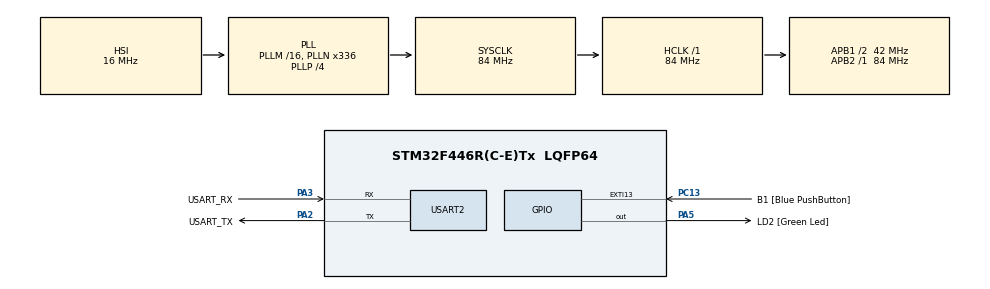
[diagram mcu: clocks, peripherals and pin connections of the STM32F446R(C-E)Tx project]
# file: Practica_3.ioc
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Mcu.Family=STM32F4
Mcu.Name=STM32F446R(C-E)Tx
Mcu.Package=LQFP64
NVIC.PriorityGroup=NVIC_PRIORITYGROUP_0
PA13.GPIO_Label=TMS
PA13.Mode=Serial_Wire
PA13.Signal=SYS_JTMS-SWDIO
PA14.GPIO_Label=TCK
PA14.Mode=Serial_Wire
PA14.Signal=SYS_JTCK-SWCLK
PA2.GPIO_Label=USART_TX
PA2.Mode=Asynchronous
PA2.Signal=USART2_TX
PA3.GPIO_Label=USART_RX
PA3.Mode=Asynchronous
PA3.Signal=USART2_RX
PA5.GPIO_Label=LD2 [Green Led]
PA5.Signal=GPIO_Output
PB3.GPIO_Label=SWO
PB3.Signal=SYS_JTDO-SWO
PC13.GPIO_Label=B1 [Blue PushButton]
PC13.GPIO_ModeDefaultEXTI=GPIO_MODE_IT_FALLING
PC13.Signal=GPXTI13
PC14-OSC32_IN.Mode=LSE-External-Oscillator
PC14-OSC32_IN.Signal=RCC_OSC32_IN
PC15-OSC32_OUT.Mode=LSE-External-Oscillator
PC15-OSC32_OUT.Signal=RCC_OSC32_OUT
PH0-OSC_IN.Mode=HSE-External-Oscillator
PH0-OSC_IN.Signal=RCC_OSC_IN
PH1-OSC_OUT.Mode=HSE-External-Oscillator
PH1-OSC_OUT.Signal=RCC_OSC_OUT
ProjectManager.HeapSize=0x200
ProjectManager.StackSize=0x400
ProjectManager.TargetToolchain=STM32CubeIDE
RCC.48MHZClocksFreq_Value=84000000
RCC.AHBFreq_Value=84000000
RCC.APB1CLKDivider=RCC_HCLK_DIV2
RCC.APB1Freq_Value=42000000
RCC.APB1TimFreq_Value=84000000
RCC.APB2Freq_Value=84000000
RCC.APB2TimFreq_Value=84000000
RCC.CortexFreq_Value=84000000
RCC.FLatency-AdvancedSettings=FLASH_LATENCY_2
RCC.HCLKFreq_Value=84000000
RCC.HSE_VALUE=8000000
RCC.HSI_VALUE=16000000
RCC.PLLN=336
RCC.PLLP=RCC_PLLP_DIV4
RCC.SYSCLKFreq_VALUE=84000000
RCC.SYSCLKSource=RCC_SYSCLKSOURCE_PLLCLK
RCC.USBFreq_Value=168000000
RCC.VCOOutputFreq_Value=336000000
USART2.VirtualMode=VM_ASYNC
board=NUCLEO-F446RE

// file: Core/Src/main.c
/* USER CODE BEGIN Header */
/**
  ******************************************************************************
  * @file           : main.c
  * @brief          : Main program body
  ******************************************************************************
  * @attention
  *
  * Copyright (c) 2025 STMicroelectronics.
  * All rights reserved.
  *
  * This software is licensed under terms that can be found in the LICENSE file
  * in the root directory of this software component.
  * If no LICENSE file comes with this software, it is provided AS-IS.
  *
  ******************************************************************************
  */
/* USER CODE END Header */
#include "main.h"

/* USER CODE BEGIN Includes */
#include "API_delay.h"

/* USER CODE END Includes */

UART_HandleTypeDef huart2;

void SystemClock_Config(void);
static void MX_GPIO_Init(void);
static void MX_USART2_UART_Init(void);

int main(void)
{

  /* MCU Configuration--------------------------------------------------------*/

  /* Reset of all peripherals, Initializes the Flash interface and the Systick. */
  HAL_Init();

  /* Configure the system clock */
  SystemClock_Config();

  /* Initialize all configured peripherals */
  MX_GPIO_Init();
  MX_USART2_UART_Init();
  /* USER CODE BEGIN 2 */
  delay_t delay;
  const uint32_t TIEMPOS[] = {500,100,100,1000};		// Arreglo de tiempos
  uint32_t index = 0;									// índice del arreglo de tiempos
  bool_t ledState = false;								// Estado inicial del led

  HAL_GPIO_WritePin(LD2_GPIO_Port, LD2_Pin, ledState);	// LED inicia apagado
  delayInit(&delay,TIEMPOS[index]);						// Inicializa dutty del LED

  /* USER CODE END 2 */

  /* Infinite loop */
  /* USER CODE BEGIN WHILE */
  while (1)
  {
	  if(delayRead(&delay))										// Si se cumplió el delay
	  {
		  ledState = !ledState;
		  HAL_GPIO_WritePin(LD2_GPIO_Port, LD2_Pin, ledState);	// Cambio eL estado del LED

		  if(ledState)											// Si el LED se encendió
		  {
			  delayRead(&delay);								// Reinicio el Delay con el mismo tiempo
		  }
		  else if (!delayIsRunning(&delay))						// Sino, si no esta corriend
		  {
			  index++;											// Incrementa índice
			  if(index >= (sizeof(TIEMPOS)/sizeof(TIEMPOS[0])))	// Verifica desborde
			  {
				  index = 0;
			  }

			  delayWrite(&delay,TIEMPOS[index]);				// Establce nueva duración
			  delayRead(&delay);								// Inicia nuevo delay
		  }
	  }
    /* USER CODE END WHILE */

  }
}

void SystemClock_Config(void)
{
  RCC_OscInitTypeDef RCC_OscInitStruct = {0};
  RCC_ClkInitTypeDef RCC_ClkInitStruct = {0};

  /** Configure the main internal regulator output voltage
  */
  __HAL_RCC_PWR_CLK_ENABLE();
  __HAL_PWR_VOLTAGESCALING_CONFIG(PWR_REGULATOR_VOLTAGE_SCALE3);

  /** Initializes the RCC Oscillators according to the specified parameters
  * in the RCC_OscInitTypeDef structure.
  */
  RCC_OscInitStruct.OscillatorType = RCC_OSCILLATORTYPE_HSI;
  RCC_OscInitStruct.HSIState = RCC_HSI_ON;
  RCC_OscInitStruct.HSICalibrationValue = RCC_HSICALIBRATION_DEFAULT;
  RCC_OscInitStruct.PLL.PLLState = RCC_PLL_ON;
  RCC_OscInitStruct.PLL.PLLSource = RCC_PLLSOURCE_HSI;
  RCC_OscInitStruct.PLL.PLLM = 16;
  RCC_OscInitStruct.PLL.PLLN = 336;
  RCC_OscInitStruct.PLL.PLLP = RCC_PLLP_DIV4;
  RCC_OscInitStruct.PLL.PLLQ = 2;
  RCC_OscInitStruct.PLL.PLLR = 2;
  if (HAL_RCC_OscConfig(&RCC_OscInitStruct) != HAL_OK)
  {
    Error_Handler();
  }

  /** Initializes the CPU, AHB and APB buses clocks
  */
  RCC_ClkInitStruct.ClockType = RCC_CLOCKTYPE_HCLK|RCC_CLOCKTYPE_SYSCLK
                              |RCC_CLOCKTYPE_PCLK1|RCC_CLOCKTYPE_PCLK2;
  RCC_ClkInitStruct.SYSCLKSource = RCC_SYSCLKSOURCE_PLLCLK;
  RCC_ClkInitStruct.AHBCLKDivider = RCC_SYSCLK_DIV1;
  RCC_ClkInitStruct.APB1CLKDivider = RCC_HCLK_DIV2;
  RCC_ClkInitStruct.APB2CLKDivider = RCC_HCLK_DIV1;

  if (HAL_RCC_ClockConfig(&RCC_ClkInitStruct, FLASH_LATENCY_2) != HAL_OK)
  {
    Error_Handler();
  }
}

static void MX_USART2_UART_Init(void)
{

  huart2.Instance = USART2;
  huart2.Init.BaudRate = 115200;
  huart2.Init.WordLength = UART_WORDLENGTH_8B;
  huart2.Init.StopBits = UART_STOPBITS_1;
  huart2.Init.Parity = UART_PARITY_NONE;
  huart2.Init.Mode = UART_MODE_TX_RX;
  huart2.Init.HwFlowCtl = UART_HWCONTROL_NONE;
  huart2.Init.OverSampling = UART_OVERSAMPLING_16;
  if (HAL_UART_Init(&huart2) != HAL_OK)
  {
    Error_Handler();
  }

}

static void MX_GPIO_Init(void)
{
  GPIO_InitTypeDef GPIO_InitStruct = {0};

  /* GPIO Ports Clock Enable */
  __HAL_RCC_GPIOC_CLK_ENABLE();
  __HAL_RCC_GPIOH_CLK_ENABLE();
  __HAL_RCC_GPIOA_CLK_ENABLE();
  __HAL_RCC_GPIOB_CLK_ENABLE();

  /*Configure GPIO pin Output Level */
  HAL_GPIO_WritePin(LD2_GPIO_Port, LD2_Pin, GPIO_PIN_RESET);

  /*Configure GPIO pin : B1_Pin */
  GPIO_InitStruct.Pin = B1_Pin;
  GPIO_InitStruct.Mode = GPIO_MODE_IT_FALLING;
  GPIO_InitStruct.Pull = GPIO_NOPULL;
  HAL_GPIO_Init(B1_GPIO_Port, &GPIO_InitStruct);

  /*Configure GPIO pin : LD2_Pin */
  GPIO_InitStruct.Pin = LD2_Pin;
  GPIO_InitStruct.Mode = GPIO_MODE_OUTPUT_PP;
  GPIO_InitStruct.Pull = GPIO_NOPULL;
  GPIO_InitStruct.Speed = GPIO_SPEED_FREQ_LOW;
  HAL_GPIO_Init(LD2_GPIO_Port, &GPIO_InitStruct);

}

void Error_Handler(void)
{
  __disable_irq();
  while (1)
  {
  }
}
